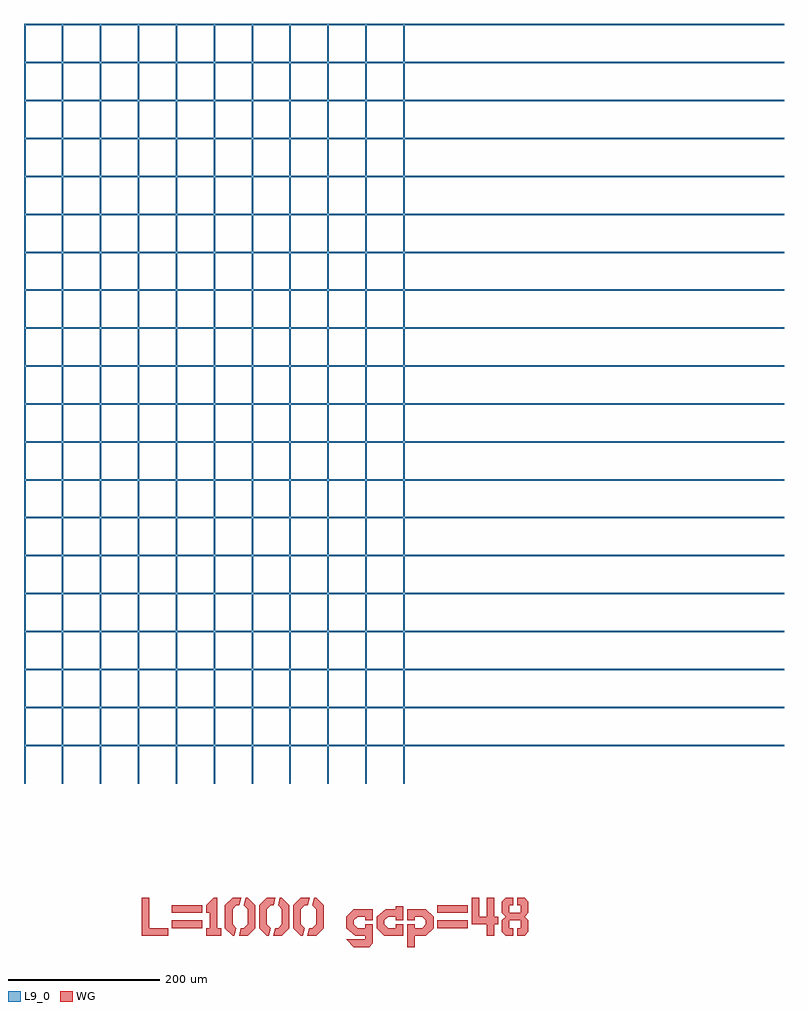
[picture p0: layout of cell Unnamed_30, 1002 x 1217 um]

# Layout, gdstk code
import gdstk
lib = gdstk.Library(unit=1e-6, precision=1e-09)
def R(c, l, rs):  # rectangles x0, y0, x1, y1
    for r in rs: c.add(gdstk.rectangle(r[:2], r[2:], *l))
def P(c, l, *ps):  # polygons
    for p in ps: c.add(gdstk.Polygon(p, *l))
WG = (1, 0)
L9_0 = (9, 0)

text_tl1000_gap48_s50_p_ = lib.new_cell('text_TL1000_gap48_S50_P_c6f18d36')
R(text_tl1000_gap48_s50_p_, WG, [(45,10,85,20), (395,10,435,20), (45,30,85,40), (395,30,435,40)])
P(text_tl1000_gap48_s50_p_, WG, [(485,0),(480,5),(480,20),(485,25),(480,30),(480,45),(485,50),(495,50),(495,40),(490,40),(490,30),(505,30),(505,40),(500,40),(500,50),(510,50),(515,45),(515,30),(510,25),(515,20),(515,5),(510,0),(500,0),(500,10),(505,10),(505,20),(490,20),(490,10),(495,10),(495,0)],
  [(460,0),(460,15),(440,15),(440,50),(450,50),(450,25),(460,25),(460,50),(470,50),(470,25),(475,25),(475,15),(470,15),(470,0)],
  [(5,0),(5,50),(15,50),(15,10),(40,10),(40,0)],
  [(90,0),(90,10),(95,10),(95,30),(90,30),(90,40),(100,50),(105,50),(105,10),(110,10),(110,0)],
  [(285,-15),(275,-5),(300,-5),(300,0),(286.7,0),(275,10),(275,25),(285,35),(310,35),(310,20),(300,20),(300,25),(290,25),(285,20),(285,15),(290,10),(300,10),(300,15),(310,15),(310,-10),(305,-15)],
  [(325,0),(315,10),(315,25),(326.7,35),(340,35),(340,38.75),(350,38.75),(350,20),(340,20),(340,25),(330,25),(325,20),(325,15),(330,10),(340,10),(340,15),(350,15),(350,0)],
  [(133.5,0),(136,10),(140,10),(145,15),(145,35),(140,40),(142.5,50),(145,50),(155,40),(155,10),(145,0)],
  [(178.5,0),(181,10),(185,10),(190,15),(190,35),(185,40),(187.5,50),(190,50),(200,40),(200,10),(190,0)],
  [(223.5,0),(226,10),(230,10),(235,15),(235,35),(230,40),(232.5,50),(235,50),(245,40),(245,10),(235,0)],
  [(125,0),(115,10),(115,40),(125,50),(136.5,50),(134,40),(130,40),(125,35),(125,15),(130,10),(127.5,0)],
  [(170,0),(160,10),(160,40),(170,50),(181.5,50),(179,40),(175,40),(170,35),(170,15),(175,10),(172.5,0)],
  [(215,0),(205,10),(205,40),(215,50),(226.5,50),(224,40),(220,40),(215,35),(215,15),(220,10),(217.5,0)],
  [(355,-15),(355,15),(365,15),(365,10),(375,10),(380,15),(380,20),(375,25),(365,25),(365,20),(355,20),(355,35),(380,35),(390,25),(390,10),(380,0),(365,0),(365,-15)])

rectangle_s2_1000_l9_0__ = lib.new_cell('rectangle_S2_1000_L9_0__4b45e69f')
R(rectangle_s2_1000_l9_0__, L9_0, [(0,0,2,1000)])

rectangle_s1002_2_l9_0__ = lib.new_cell('rectangle_S1002_2_L9_0__603ab42d')
R(rectangle_s1002_2_l9_0__, L9_0, [(0,0,1002,2)])

unnamed_30 = lib.new_cell('Unnamed_30')
unnamed_30.add(gdstk.Reference(text_tl1000_gap48_s50_p_, (150,-200)))
unnamed_30.add(gdstk.Reference(rectangle_s2_1000_l9_0__, (0,0)))
unnamed_30.add(gdstk.Reference(rectangle_s2_1000_l9_0__, (50,0)))
unnamed_30.add(gdstk.Reference(rectangle_s2_1000_l9_0__, (100,0)))
unnamed_30.add(gdstk.Reference(rectangle_s2_1000_l9_0__, (150,0)))
unnamed_30.add(gdstk.Reference(rectangle_s2_1000_l9_0__, (200,0)))
unnamed_30.add(gdstk.Reference(rectangle_s2_1000_l9_0__, (250,0)))
unnamed_30.add(gdstk.Reference(rectangle_s2_1000_l9_0__, (300,0)))
unnamed_30.add(gdstk.Reference(rectangle_s2_1000_l9_0__, (350,0)))
unnamed_30.add(gdstk.Reference(rectangle_s2_1000_l9_0__, (400,0)))
unnamed_30.add(gdstk.Reference(rectangle_s2_1000_l9_0__, (450,0)))
unnamed_30.add(gdstk.Reference(rectangle_s2_1000_l9_0__, (500,0)))
unnamed_30.add(gdstk.Reference(rectangle_s1002_2_l9_0__, (0,50)))
unnamed_30.add(gdstk.Reference(rectangle_s1002_2_l9_0__, (0,100)))
unnamed_30.add(gdstk.Reference(rectangle_s1002_2_l9_0__, (0,150)))
unnamed_30.add(gdstk.Reference(rectangle_s1002_2_l9_0__, (0,200)))
unnamed_30.add(gdstk.Reference(rectangle_s1002_2_l9_0__, (0,250)))
unnamed_30.add(gdstk.Reference(rectangle_s1002_2_l9_0__, (0,300)))
unnamed_30.add(gdstk.Reference(rectangle_s1002_2_l9_0__, (0,350)))
unnamed_30.add(gdstk.Reference(rectangle_s1002_2_l9_0__, (0,400)))
unnamed_30.add(gdstk.Reference(rectangle_s1002_2_l9_0__, (0,450)))
unnamed_30.add(gdstk.Reference(rectangle_s1002_2_l9_0__, (0,500)))
unnamed_30.add(gdstk.Reference(rectangle_s1002_2_l9_0__, (0,550)))
unnamed_30.add(gdstk.Reference(rectangle_s1002_2_l9_0__, (0,600)))
unnamed_30.add(gdstk.Reference(rectangle_s1002_2_l9_0__, (0,650)))
unnamed_30.add(gdstk.Reference(rectangle_s1002_2_l9_0__, (0,700)))
unnamed_30.add(gdstk.Reference(rectangle_s1002_2_l9_0__, (0,750)))
unnamed_30.add(gdstk.Reference(rectangle_s1002_2_l9_0__, (0,800)))
unnamed_30.add(gdstk.Reference(rectangle_s1002_2_l9_0__, (0,850)))
unnamed_30.add(gdstk.Reference(rectangle_s1002_2_l9_0__, (0,900)))
unnamed_30.add(gdstk.Reference(rectangle_s1002_2_l9_0__, (0,950)))
unnamed_30.add(gdstk.Reference(rectangle_s1002_2_l9_0__, (0,1000)))

lib.write_gds('Unnamed_30.gds')
